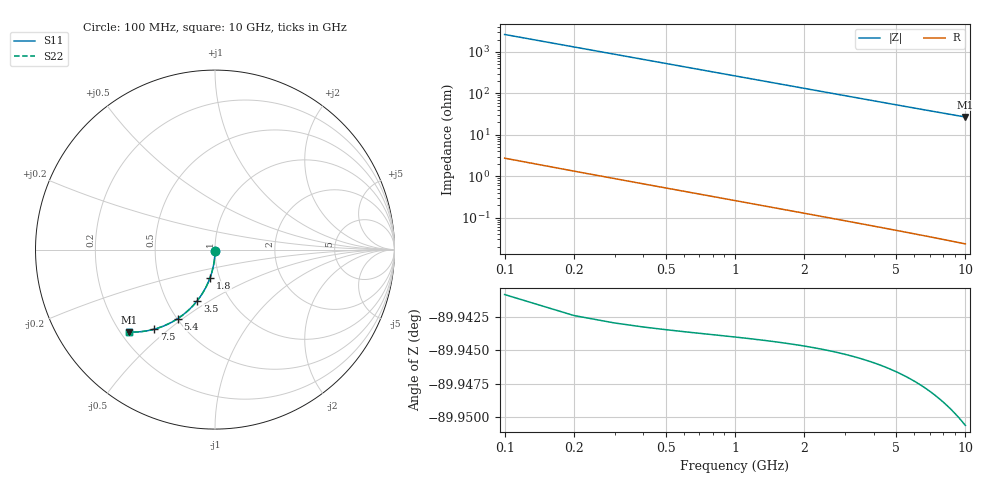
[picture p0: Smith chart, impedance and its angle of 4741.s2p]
# Hz S RI R 50.00
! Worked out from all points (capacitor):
!   100 points, 100 MHz to 10 GHz, reference 50 ohm
!   read as one part in shunt: C = 601 fF near 100 MHz
!   lowest |Z| = 27 ohm at 10 GHz (marker M1)
!   S11 on the Smith chart (normalised r, x): 100 MHz: 1.00, -0.02; 1.8 GHz: 0.90, -0.29; 3.5 GHz: 0.71, -0.44; 5.4 GHz: 0.50, -0.48; 7.5 GHz: 0.35, -0.45; 10 GHz: 0.23, -0.38
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1e8  2.81e-05 -0.00904  0.9998 -0.00982  0.9998 -0.00982  2.81e-05 -0.00904
2e8  -0.000247 -0.0181  0.9995 -0.0196  0.9995 -0.0196  -0.000247 -0.0181
3e8  -0.000699 -0.0271  0.999 -0.0294  0.999 -0.0294  -0.000699 -0.0271
4e8  -0.00133 -0.0361  0.9984 -0.0392  0.9984 -0.0392  -0.00133 -0.0361
5e8  -0.00213 -0.0451  0.9976 -0.049  0.9976 -0.049  -0.00213 -0.0451
6e8  -0.00312 -0.0541  0.9966 -0.0588  0.9966 -0.0588  -0.00312 -0.0541
8e8  -0.0056 -0.0719  0.9941 -0.0782  0.9941 -0.0782  -0.0056 -0.0719
1.1e9  -0.0106 -0.0984  0.9891 -0.107  0.9891 -0.107  -0.0106 -0.0984
1.4e9  -0.0171 -0.1244  0.9825 -0.1353  0.9825 -0.1353  -0.0171 -0.1244
1.8e9  -0.0281 -0.1581  0.9716 -0.1722  0.9716 -0.1722  -0.0281 -0.1581
2.1e9  -0.0378 -0.1826  0.9618 -0.199  0.9618 -0.199  -0.0378 -0.1826
2.5e9  -0.0529 -0.2139  0.9467 -0.2335  0.9467 -0.2335  -0.0529 -0.2139
2.9e9  -0.0699 -0.2436  0.9296 -0.2663  0.9296 -0.2663  -0.0699 -0.2436
3.4e9  -0.0937 -0.2781  0.9056 -0.3047  0.9056 -0.3047  -0.0937 -0.2781
3.5e9  -0.0988 -0.2846  0.9005 -0.3121  0.9005 -0.3121  -0.0988 -0.2846
4.3e9  -0.1423 -0.3324  0.8569 -0.3662  0.8569 -0.3662  -0.1423 -0.3324
5.1e9  -0.1896 -0.3719  0.8093 -0.412  0.8093 -0.412  -0.1896 -0.3719
5.4e9  -0.208 -0.3845  0.7908 -0.427  0.7908 -0.427  -0.208 -0.3845
6.7e9  -0.2889 -0.4266  0.7094 -0.4796  0.7094 -0.4796  -0.2889 -0.4266
7.5e9  -0.3381 -0.4432  0.6598 -0.5026  0.6598 -0.5026  -0.3381 -0.4432
8.4e9  -0.3915 -0.4544  0.606 -0.5213  0.606 -0.5213  -0.3915 -0.4544
1e10  -0.4789 -0.4591  0.5176 -0.5391  0.5176 -0.5391  -0.4789 -0.4591
